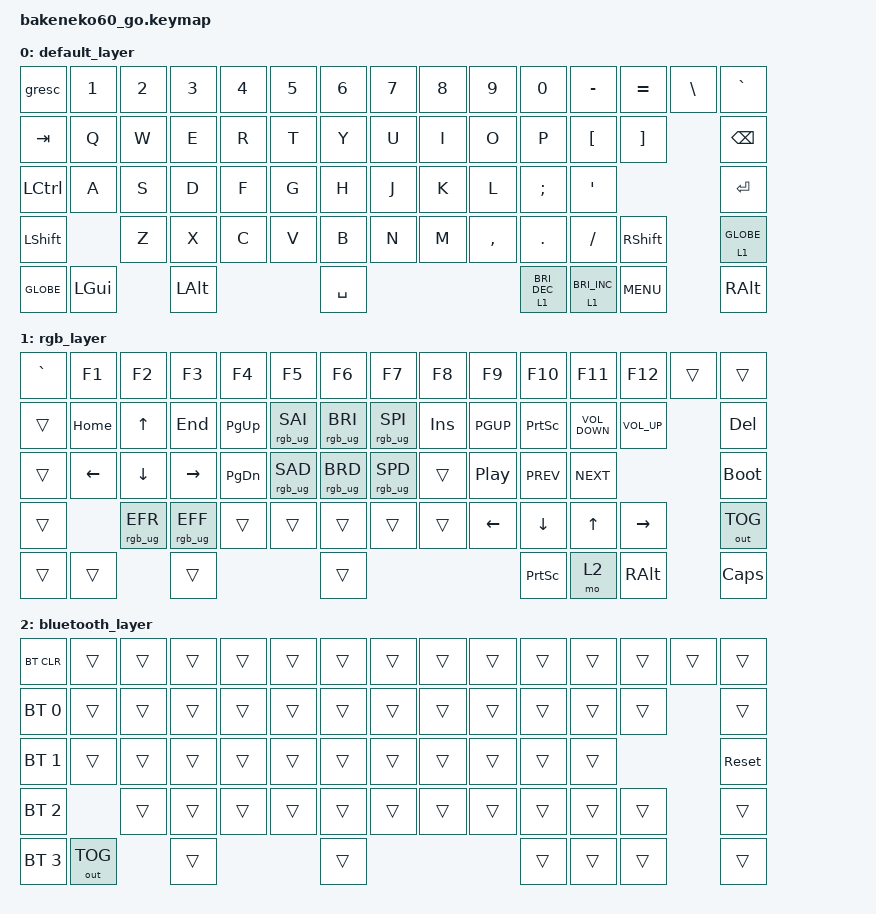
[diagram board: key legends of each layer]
/*
 * Copyright (c) 2023 Andrew Kannan
 *
 * SPDX-License-Identifier: MIT
 */

#include <behaviors.dtsi>
#include <dt-bindings/zmk/bt.h>
#include <dt-bindings/zmk/keys.h>
#include <dt-bindings/zmk/outputs.h>
#include <dt-bindings/zmk/rgb.h>

/ {
    keymap {
        compatible = "zmk,keymap";

        default_layer {
            // ------------------------------------------------------------------------------------------
            // | ESC |  1  |  2  |  3  |  4  |  5  |  6  |  7  |  8  |  9  |  0  |  -  |  =  | BKSP|BKSP|
            // | TAB  |  Q  |  W  |  E  |  R  |  T  |  Y  |  U  |  I  |  O  |  P  |  [  |  ]  |   "|"   |
            // | CAPS  |  A  |  S  |  D  |  F  |  G  |  H  |  J  |  K  |  L  |  ;  |  '  |     ENTER    |
            // |  SHIFT  |  Z  |  X  |  C  |  V  |  B  |  N  |  M  |  ,  |  .  |  /  |  SHIFT  | MO(1)  |
            // |  CTL  |  WIN  |  ALT  |            SPACE              |  ALT  |  WIN  |  MO(1) |  CTL  |
            // ------------------------------------------------------------------------------------------

            bindings = <
&gresc     &kp N1    &kp N2  &kp N3    &kp N4  &kp N5  &kp N6     &kp N7  &kp N8  &kp N9     &kp N0                  &kp MINUS               &kp EQUAL   &kp BACKSLASH  &kp GRAVE
&kp TAB    &kp Q     &kp W   &kp E     &kp R   &kp T   &kp Y      &kp U   &kp I   &kp O      &kp P                   &kp LBKT                &kp RBKT                   &kp BACKSPACE
&kp LCTRL  &kp A     &kp S   &kp D     &kp F   &kp G   &kp H      &kp J   &kp K   &kp L      &kp SEMI                &kp SQT                                            &kp RET
&kp LSHFT            &kp Z   &kp X     &kp C   &kp V   &kp B      &kp N   &kp M   &kp COMMA  &kp DOT                 &kp FSLH                &kp RSHFT                  &lt 1 GLOBE
&kp GLOBE  &kp LGUI          &kp LALT                  &kp SPACE                             &lt 1 C_BRIGHTNESS_DEC  &lt 1 C_BRIGHTNESS_INC  &kp C_MENU                 &kp RALT
            >;
        };

        rgb_layer {
            // ------------------------------------------------------------------------------------------------
            // |    `   | F1  | F2  | F3  | F4  | F5  | F6  | F7  | F8  | F9  | F10  | F11 | F12 |     | DEL  |
            // | EFCT REV|   |  UP |   | HUEUP | SATUP | BRIUP | SPDUP |      |  PGUP |    |     |    |       |
            // | EFCT FWD | LT |  DN  | RT | HUEDN | SATDN | BRIDN | SPDDN | HOME | PGDN | END  |  | BOOTLDR  |
            // |             |     |      |      |     |     |     |     |     |     |     |         |        |
            // |         |      |      |             TOG RGB                | PRT SCR |       |       |  MO(2)|
            // ------------------------------------------------------------------------------------------------

            bindings = <
&kp GRAVE  &kp F1    &kp F2           &kp F3           &kp F4         &kp F5           &kp F6           &kp F7           &kp F8   &kp F9            &kp F10          &kp F11            &kp F12          &trans  &trans
&trans     &kp HOME  &kp UP           &kp END          &kp PAGE_UP    &rgb_ug RGB_SAI  &rgb_ug RGB_BRI  &rgb_ug RGB_SPI  &kp INS  &kp PGUP          &kp PRINTSCREEN  &kp C_VOLUME_DOWN  &kp C_VOLUME_UP          &kp DEL
&trans     &kp LEFT  &kp DOWN         &kp RIGHT        &kp PAGE_DOWN  &rgb_ug RGB_SAD  &rgb_ug RGB_BRD  &rgb_ug RGB_SPD  &trans   &kp C_PLAY_PAUSE  &kp C_PREV       &kp C_NEXT                                  &bootloader
&trans               &rgb_ug RGB_EFR  &rgb_ug RGB_EFF  &trans         &trans           &trans           &trans           &trans   &kp LEFT_ARROW    &kp DOWN_ARROW   &kp UP_ARROW       &kp RIGHT                &out OUT_TOG
&trans     &trans                     &trans                                           &trans                                                       &kp PSCRN        &mo 2              &kp RALT                 &kp CAPSLOCK
            >;
        };

        bluetooth_layer {
            // ------------------------------------------------------------------------------------------------
            // | BT CLR |     |     |     |     |     |     |     |     |     |     |    |    |       |       |
            // |  BT 1   |   |     |   |       |       |       |       |   |     |    |     |     |           |
            // |   BT 2   |    |      |    |       |       |       |       |      |      |      |  |   Reset  |
            // |    BT 3     |     |      |      |     |     |     |     |     |     |     |         |        |
            // |   BT 4  |      |      |                                    |         |       |       |       |
            // ------------------------------------------------------------------------------------------------

            bindings = <
&bt BT_CLR    &trans        &trans  &trans  &trans  &trans  &trans  &trans  &trans  &trans  &trans  &trans  &trans  &trans  &trans
&bt BT_SEL 0  &trans        &trans  &trans  &trans  &trans  &trans  &trans  &trans  &trans  &trans  &trans  &trans          &trans
&bt BT_SEL 1  &trans        &trans  &trans  &trans  &trans  &trans  &trans  &trans  &trans  &trans  &trans                  &sys_reset
&bt BT_SEL 2                &trans  &trans  &trans  &trans  &trans  &trans  &trans  &trans  &trans  &trans  &trans          &trans
&bt BT_SEL 3  &out OUT_TOG          &trans                  &trans                          &trans  &trans  &trans          &trans
            >;
        };
    };

    combos {
        compatible = "zmk,combos";

        combo_bt {
            timeout-ms = <50>;
            key-positions = <61 62>;
            bindings = <&mo 2>;
        };
    };
};
